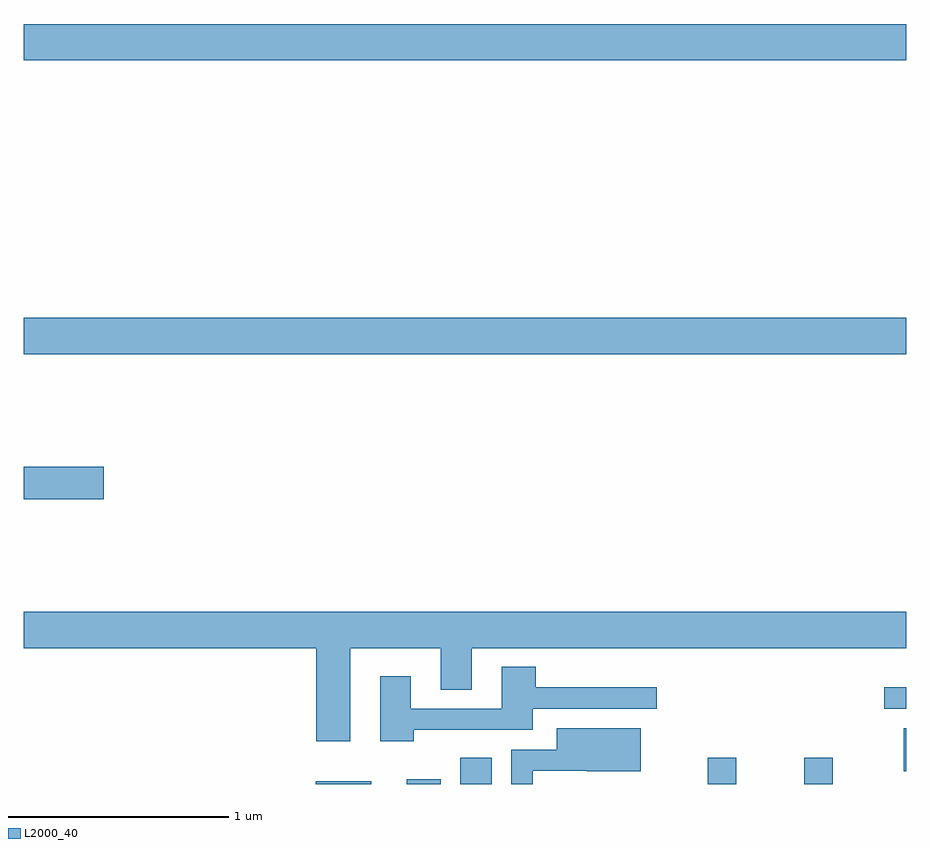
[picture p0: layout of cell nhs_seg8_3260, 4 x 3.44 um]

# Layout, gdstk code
import gdstk
lib = gdstk.Library(unit=1e-6, precision=1e-09)
def R(c, l, rs):  # rectangles x0, y0, x1, y1
    for r in rs: c.add(gdstk.rectangle(r[:2], r[2:], *l))
def P(c, l, *ps):  # polygons
    for p in ps: c.add(gdstk.Polygon(p, *l))
L2000_40 = (2000, 40)

nhs_seg8_3260 = lib.new_cell('nhs_seg8_3260')
R(nhs_seg8_3260, L2000_40, [(314.324,1099.9,314.575,1099.912), (314.735,1099.9,314.89,1099.921), (314.978,1099.9,315.121,1100.02), (316.1,1099.9,316.23,1100.02), (316.537,1099.9,316.666,1100.02), (316.988,1099.958,317,1100.152), (316.899,1100.241,317,1100.338), (313,1101.191,313.363,1101.338), (313,1101.848,317,1102.012), (313,1103.18,317,1103.344)])
P(nhs_seg8_3260, L2000_40, [(314.479,1100.516),(314.891,1100.516),(314.891,1100.326),(315.031,1100.326),(315.031,1100.516),(317,1100.516),(317,1100.68),(313,1100.68),(313,1100.516),(314.327,1100.516),(314.327,1100.094),(314.479,1100.094)],
  [(314.768,1100.145),(315.307,1100.145),(315.307,1100.241),(315.868,1100.241),(315.868,1100.338),(315.32,1100.338),(315.32,1100.431),(315.167,1100.431),(315.167,1100.241),(314.755,1100.241),(314.755,1100.389),(314.615,1100.389),(314.615,1100.094),(314.768,1100.094)],
  [(315.306,1099.959),(315.552,1099.959),(315.552,1099.958),(315.796,1099.958),(315.796,1100.152),(315.416,1100.152),(315.416,1100.055),(315.21,1100.055),(315.21,1099.9),(315.306,1099.9)])

lib.write_gds('nhs_seg8_3260.gds')
